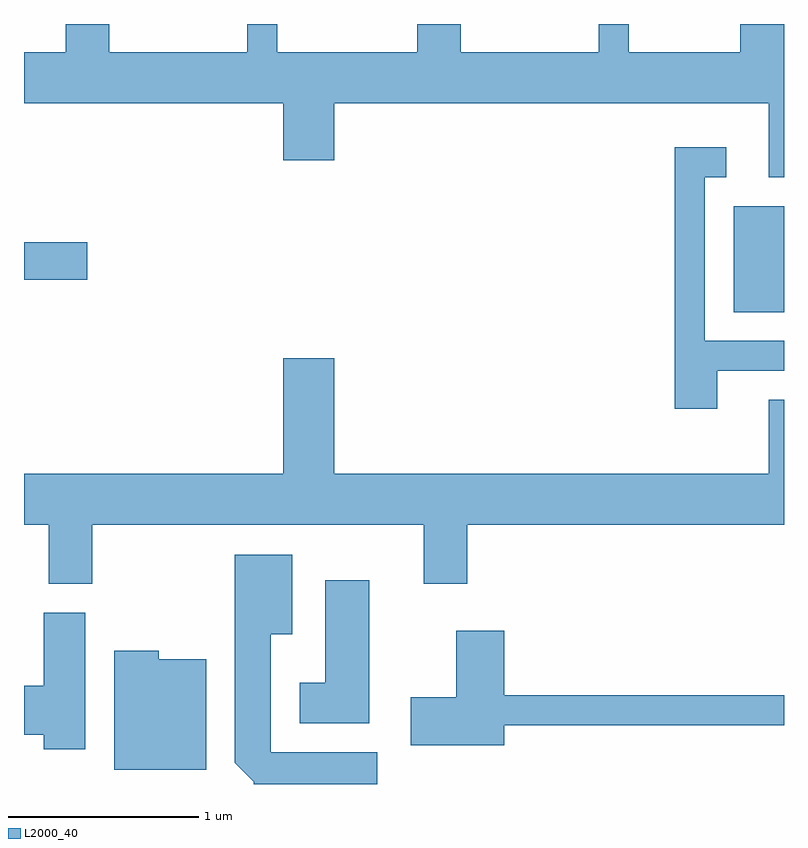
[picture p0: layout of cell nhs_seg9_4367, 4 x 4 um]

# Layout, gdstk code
import gdstk
lib = gdstk.Library(unit=1e-6, precision=1e-09)
def R(c, l, rs):  # rectangles x0, y0, x1, y1
    for r in rs: c.add(gdstk.rectangle(r[:2], r[2:], *l))
def P(c, l, *ps):  # polygons
    for p in ps: c.add(gdstk.Polygon(p, *l))
L2000_40 = (2000, 40)

nhs_seg9_4367 = lib.new_cell('nhs_seg9_4367')
R(nhs_seg9_4367, L2000_40, [(317.346,2012.916,317.611,2013.474), (313.611,2013.086,313.944,2013.284)])
P(nhs_seg9_4367, L2000_40, [(317.611,2014.432),(317.381,2014.432),(317.381,2014.284),(316.794,2014.284),(316.794,2014.432),(316.636,2014.432),(316.636,2014.284),(315.909,2014.284),(315.909,2014.432),(315.681,2014.432),(315.681,2014.284),(314.944,2014.284),(314.944,2014.432),(314.786,2014.432),(314.786,2014.284),(314.059,2014.284),(314.059,2014.432),(313.831,2014.432),(313.831,2014.284),(313.611,2014.284),(313.611,2014.016),(314.976,2014.016),(314.976,2013.716),(315.244,2013.716),(315.244,2014.016),(317.531,2014.016),(317.531,2013.626),(317.611,2013.626)],
  [(317.259,2012.606),(317.611,2012.606),(317.611,2012.764),(317.194,2012.764),(317.194,2013.626),(317.308,2013.626),(317.308,2013.784),(317.036,2013.784),(317.036,2012.406),(317.259,2012.406)],
  [(313.969,2011.796),(315.716,2011.796),(315.716,2011.486),(315.944,2011.486),(315.944,2011.796),(317.611,2011.796),(317.611,2012.454),(317.531,2012.454),(317.531,2012.064),(315.244,2012.064),(315.244,2012.674),(314.976,2012.674),(314.976,2012.064),(313.611,2012.064),(313.611,2011.796),(313.741,2011.796),(313.741,2011.486),(313.969,2011.486)],
  [(315.469,2010.599),(314.909,2010.599),(314.909,2011.221),(315.024,2011.221),(315.024,2011.639),(314.721,2011.639),(314.721,2010.544),(314.821,2010.444),(314.821,2010.432),(315.469,2010.432)],
  [(315.429,2011.504),(315.196,2011.504),(315.196,2010.964),(315.061,2010.964),(315.061,2010.751),(315.429,2010.751)],
  [(313.934,2011.334),(313.716,2011.334),(313.716,2010.949),(313.611,2010.949),(313.611,2010.691),(313.716,2010.691),(313.716,2010.616),(313.934,2010.616)],
  [(316.139,2010.741),(317.611,2010.741),(317.611,2010.899),(316.139,2010.899),(316.139,2011.239),(315.886,2011.239),(315.886,2010.889),(315.646,2010.889),(315.646,2010.636),(316.139,2010.636)],
  [(314.569,2011.089),(314.319,2011.089),(314.319,2011.134),(314.086,2011.134),(314.086,2010.506),(314.569,2010.506)])

lib.write_gds('nhs_seg9_4367.gds')
